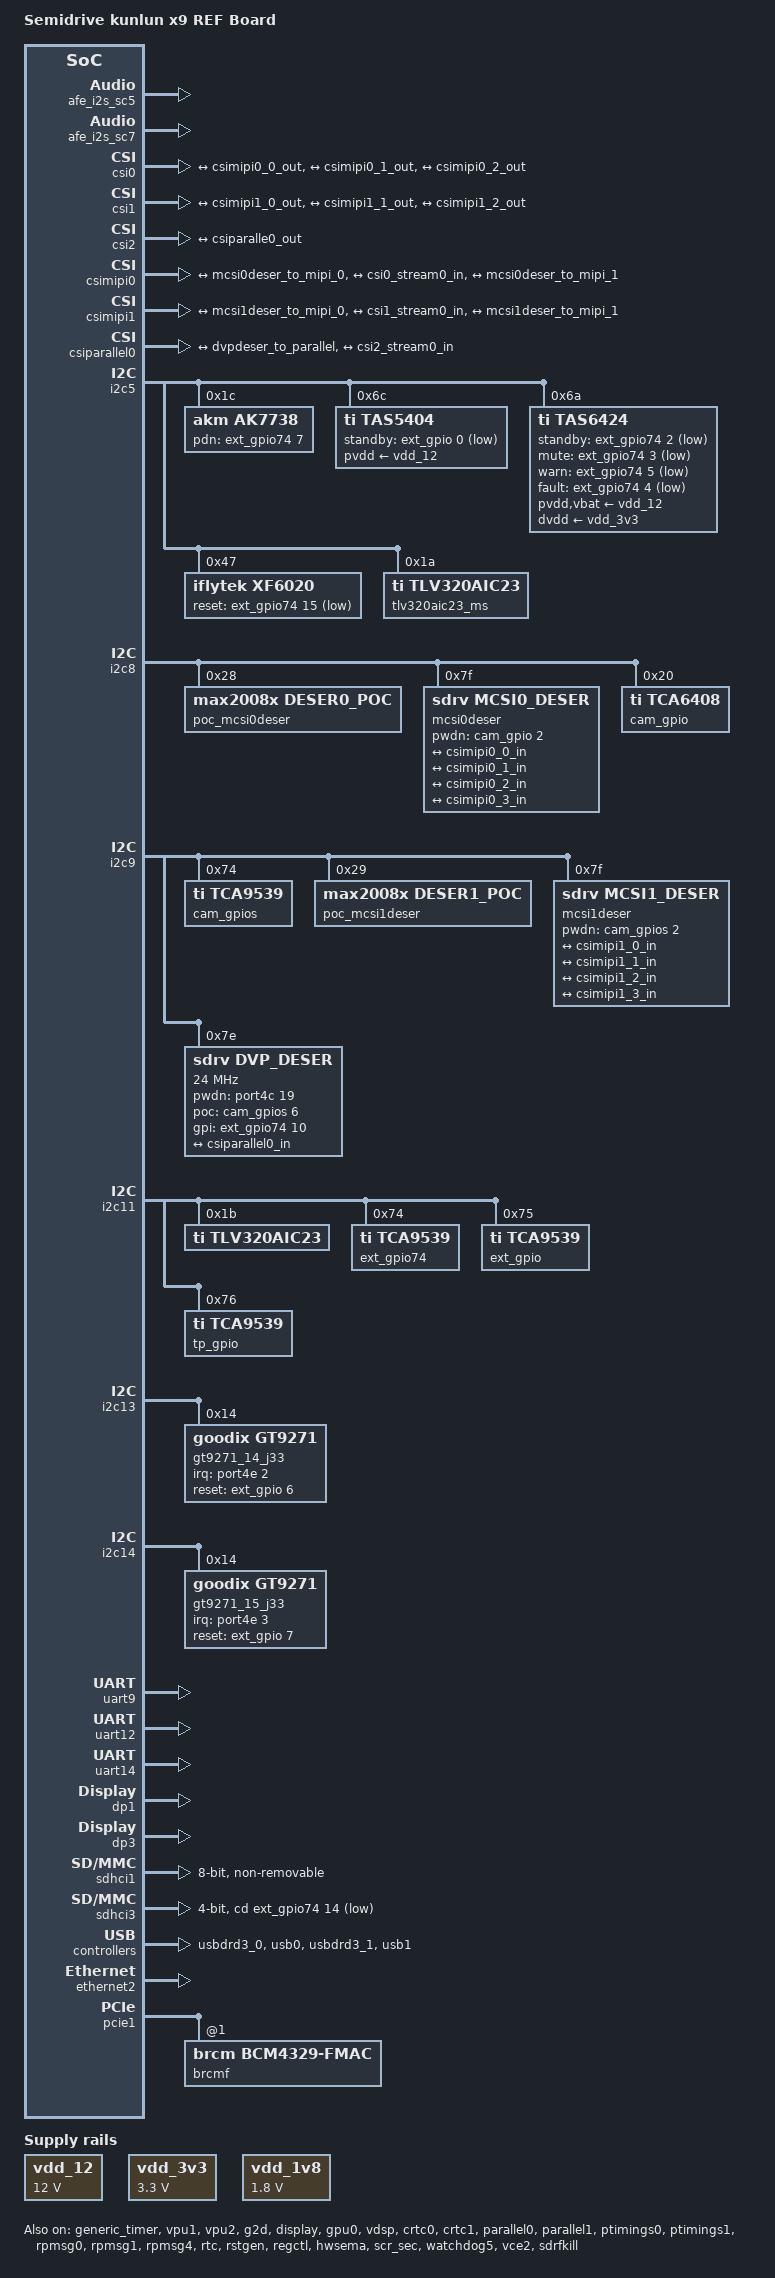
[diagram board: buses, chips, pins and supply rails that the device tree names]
/*
 * Semidrive kunlun platform DTS file
 *
 * Copyright (C) 2019, Semidrive  Communications Inc.
 *
 * This file is licensed under a dual GPLv2 or X11 license.
 */

/dts-v1/;

#include "../x9_high-plus_ecockpit.dtsi"
#include "../x9_high-plus_ref_ivi-clk-ctrl.dtsi"
#include "../lcd-timings.dtsi"
#include <dt-bindings/pinctrl/pins-sdx9.h>
#include <dt-bindings/memmap/x9_high-plus/projects/default/image_cfg.h>
#include <dt-bindings/memory/sdrv_ion.h>
#include <dt-bindings/rpmsg/sd,x9hp-ap1.h>

/ {
	model = "Semidrive kunlun x9 REF Board";

	compatible = "semidrive,kunlun";

	aliases {
		serial0 = &uart14;
		serial1 = &uart9;
		serial2 = &uart12;
		ethernet2 = &ethernet2;
	};

	memory@50000000 {
		device_type = "memory";
		reg = <HIGH32(AP1_KERNEL_MEMBASE-0x80000) LOW32(AP1_KERNEL_MEMBASE-0x80000) HIGH32(AP1_KERNEL_MEMSIZE) LOW32(AP1_KERNEL_MEMSIZE) \
		       HIGH32(AP1_2ND_MEMBASE) LOW32(AP1_2ND_MEMBASE) HIGH32(AP1_2ND_MEMSIZE - 0x1) LOW32(AP1_2ND_MEMSIZE) \
		       0x0 (VDSP_SHARE_MEMBASE+0x4000) 0x0 (VDSP_SHARE_MEMSIZE-0x4000)>;
	};

	reserved-memory {
		#address-cells = <2>;
		#size-cells = <2>;
		ranges;

		/* Default Common CMA Pool */
		/* QUIRK: Must be kept in the lower 4096 MiBs of DRAM banks for VE */
		linux,cma {
			compatible = "shared-dma-pool";
			reusable;
			size = <0x0 0x40000000>; /* 1G */
			/* 4GB maximum in case of 32-bit only capable devices */
			alloc-ranges = <0x0 0x0 0x0 0xb0000000>;
			linux,cma-default;
		};

		rproc_0_safety: rproc@0 {
			compatible = "shared-dma-pool";
			no-map;
			reg = <0x0 RPMSG0_MEM_POOL_BASE 0x0 RPMSG0_MEM_POOL_SIZE>;
		};

		rproc_1_secure: rproc@1 {
			compatible = "shared-dma-pool";
			no-map;
			reg = <0x0 RPMSG1_MEM_POOL_BASE 0x0 RPMSG1_MEM_POOL_SIZE>;
		};

		rproc_ap: rproc@4 {
			compatible = "shared-dma-pool";
			no-map;
			reg = <0x0 RPMSG3_MEM_POOL_BASE 0x0 RPMSG3_MEM_POOL_SIZE>;
		};

		xrp_reserved: xrp@0 {
			compatible = "shared-dma-pool";
			status = "okay";
			no-map;
			reg = <0x0 VDSP_SHARE_MEMBASE 0x0 0x4000>;
		};

		xrp_shared: xrp,shmem {
			reg = <0x0 (VDSP_SHARE_MEMBASE+0x4000) 0x0 (VDSP_SHARE_MEMSIZE-0x4000)>;
		};

	};

	chosen {
		bootargs = "root=/dev/ram0 rootfstype=ramfs highres=1  earlycon loglevel=4 console=ttyS0,115200n8 fbcon=map:1 androidboot.mode=normal androidboot.selinux=permissive androidboot.debuggable=0 androidboot.dm_verity=disable init=/init";
		stdout-path = "serial0";
		linux,initrd-start = <AP1_BOARD_RAMDISK_MEMBASE>;
		linux,initrd-end   = <AP1_BOARD_RAMDISK_MEMSIZE>;
	};

	vdd_12: fixed-vdd_12 {
		compatible = "regulator-fixed";
		regulator-name = "vdd_12v";
		regulator-min-microvolt = <12000000>;
		regulator-max-microvolt = <12000000>;
	};

	vdd_3v3: fixed-vdd_3v3 {
		compatible = "regulator-fixed";
		regulator-name = "vdd_3v3";
		regulator-min-microvolt = <3300000>;
		regulator-max-microvolt = <3300000>;
	};

	vdd_1v8: fixed-vdd_1v8 {
		compatible = "regulator-fixed";
		regulator-name = "vdd_1v8";
		regulator-min-microvolt = <1800000>;
		regulator-max-microvolt = <1800000>;
	};

	sound_ak7738: sound@ak7738 {
		compatible = "semidrive,x9-ref-ak7738","semidrive,x9-ref04-ak7738";
		semidrive,audio-codec = <&ak7738>;
		status = "okay";
	};

	sound_ak4556: sound@ak4556 {
		compatible = "semidrive,x9-ref-ak4556";
		status = "okay";
	};

	sound_tlv320aic23: sound@tlv320aic23 {
		compatible = "semidrive,x9-ref-tlv320aic23";
		semidrive,audio-codec = <&tlv320aic23>;
		status = "okay";
	};
};

&dmac4 {
	status = "okay";
};

&dmac5 {
	status = "okay";
};

&dmac6 {
	status = "okay";
};

&afe_i2s_sc2{
	dmas = <&dmac4 X9_DMA_SLV_ID_I2S_SC3_TX>, <&dmac4 X9_DMA_SLV_ID_I2S_SC3_RX>;
	dma-names = "tx", "rx";
	status = "disabled";
};

&afe_i2s_sc5{
	dmas = <&dmac4 X9_DMA_SLV_ID_I2S_SC6_TX>, <&dmac4 X9_DMA_SLV_ID_I2S_SC6_RX>;
	dma-names = "tx", "rx";
	status = "okay";
};

&afe_i2s_sc7{
	dmas = <&dmac4 X9_DMA_SLV_ID_I2S_SC8_TX>, <&dmac4 X9_DMA_SLV_ID_I2S_SC8_RX>;
	dma-names = "tx", "rx";
	status = "okay";
};

&csi0 {
	mbus-type = "mipi-csi2";
	pclk-sample = <1>;
	status = "okay";
	sync = <1>;

	ports {
		csi0_stream0: port@0 {
			csi0_stream0_in: endpoint@0 {
				remote-endpoint = <&csimipi0_0_out>;
			};
		};
		csi0_stream1: port@1 {
			csi0_stream1_in: endpoint@0 {
				remote-endpoint = <&csimipi0_1_out>;
			};
		};
		csi0_stream2: port@2 {
			csi0_stream2_in: endpoint@0 {
				remote-endpoint = <&csimipi0_2_out>;
			};
		};
		csi0_stream3: port@3 {
			csi0_stream3_in: endpoint@0 {
				remote-endpoint = <&csimipi0_3_out>;
			};
		};
	};
};
&csi1 {
	mbus-type = "mipi-csi2";
	pclk-sample = <1>;
	status = "okay";

	ports {
		csi1_stream0: port@0 {
			csi1_stream0_in: endpoint@0 {
				remote-endpoint = <&csimipi1_0_out>;
			};
		};
		csi1_stream1: port@1 {
			csi1_stream1_in: endpoint@0 {
				remote-endpoint = <&csimipi1_1_out>;
			};
		};
		csi1_stream2: port@2 {
			csi1_stream2_in: endpoint@0 {
				remote-endpoint = <&csimipi1_2_out>;
			};
		};
		csi1_stream3: port@3 {
			csi1_stream3_in: endpoint@0 {
				remote-endpoint = <&csimipi1_3_out>;
			};
		};
	};
};
&csi2 {
	mbus-type = "parallel";
	pclk-sample = <0>;
	status = "okay";

	ports {
		csi2_stream0: port@0 {
			csi2_stream0_in: endpoint@0 {
				remote-endpoint = <&csiparalle0_out>;
			};
		};

	};
};
&csimipi0 {
	status = "okay";
	lanerate = <72000000>;
	hsa = <10>;
	hbp = <20>;
	hsd = <0x60>;
	output-type = <0x1e>;
	sync = <1>;

	ports {
		#address-cells = <1>;
		#size-cells = <0>;

		port@0 {
			#address-cells = <1>;
			#size-cells = <0>;
			reg = <0>;
			csimipi0_0_in: endpoint@0 {
				remote-endpoint = <&mcsi0deser_to_mipi_0>;
				reg = <0>;
			};
			csimipi0_0_out: endpoint@1 {
				remote-endpoint = <&csi0_stream0_in>;
				reg = <0>;
			};
		};
		port@1 {
			#address-cells = <1>;
			#size-cells = <0>;
			reg = <1>;
			csimipi0_1_in: endpoint@0 {
				remote-endpoint = <&mcsi0deser_to_mipi_1>;
				reg = <1>;
			};
			csimipi0_1_out: endpoint@1 {
				remote-endpoint = <&csi0_stream1_in>;
				reg = <1>;
			};
		};
		port@2 {
			#address-cells = <1>;
			#size-cells = <0>;
			reg = <2>;
			csimipi0_2_in: endpoint@0 {
				remote-endpoint = <&mcsi0deser_to_mipi_2>;
				reg = <2>;
			};
			csimipi0_2_out: endpoint@1 {
				remote-endpoint = <&csi0_stream2_in>;
				reg = <2>;
			};
		};
		port@3 {
			#address-cells = <1>;
			#size-cells = <0>;
			reg = <3>;
			csimipi0_3_in: endpoint@0 {
				remote-endpoint = <&mcsi0deser_to_mipi_3>;
				reg = <3>;
			};
			csimipi0_3_out: endpoint@1 {
				remote-endpoint = <&csi0_stream3_in>;
				reg = <3>;
			};
		};
	};
};
&csimipi1 {
	status = "okay";
	lanerate = <72000000>;
	hsa = <10>;
	hbp = <20>;
	hsd = <0x60>;
	output-type = <0x1e>;

	ports {
		#address-cells = <1>;
		#size-cells = <0>;

		port@0 {
			#address-cells = <1>;
			#size-cells = <0>;
			reg = <0>;
			csimipi1_0_in: endpoint@0 {
				remote-endpoint = <&mcsi1deser_to_mipi_0>;
				reg = <0>;
			};
			csimipi1_0_out: endpoint@1 {
				remote-endpoint = <&csi1_stream0_in>;
				reg = <0>;
			};
		};
		port@1 {
			#address-cells = <1>;
			#size-cells = <0>;
			reg = <1>;
			csimipi1_1_in: endpoint@0 {
				remote-endpoint = <&mcsi1deser_to_mipi_1>;
				reg = <1>;
			};
			csimipi1_1_out: endpoint@1 {
				remote-endpoint = <&csi1_stream1_in>;
				reg = <1>;
			};
		};
		port@2 {
			#address-cells = <1>;
			#size-cells = <0>;
			reg = <2>;
			csimipi1_2_in: endpoint@0 {
				remote-endpoint = <&mcsi1deser_to_mipi_2>;
				reg = <2>;
			};
			csimipi1_2_out: endpoint@1 {
				remote-endpoint = <&csi1_stream2_in>;
				reg = <2>;
			};
		};
		port@3 {
			#address-cells = <1>;
			#size-cells = <0>;
			reg = <3>;
			csimipi1_3_in: endpoint@0 {
				remote-endpoint = <&mcsi1deser_to_mipi_3>;
				reg = <3>;
			};
			csimipi1_3_out: endpoint@1 {
				remote-endpoint = <&csi1_stream3_in>;
				reg = <3>;
			};
		};
	};
};
&csiparallel0 {
	status = "okay";
	#address-cells = <1>;
	#size-cells = <0>;

	port {
		#address-cells = <1>;
		#size-cells = <0>;
		reg = <0>;
		csiparallel0_in: endpoint@0 {
			remote-endpoint = <&dvpdeser_to_parallel>;
		};

		csiparallel0_out: endpoint@1 {
			remote-endpoint = <&csi2_stream0_in>;
		};
	};
};

&i2c5 {
        status = "okay";

		ak7738:codec@1c{
			compatible = "akm,ak7738";
			reg = <0x1c>;
			ak7738,pdn-gpio = <&ext_gpio74 7 0>; // If PDN GPIO pin is used
		};

 		tas5404:codec@6c {
			compatible = "ti,tas5404";
			reg = <0x6c>;
			#sound-dai-cells = <0>;
			pvdd-supply = <&vdd_12>;
			standby-gpios = <&ext_gpio 0 GPIO_ACTIVE_LOW>;
		};

		tas6424:codec@6a {
			compatible = "ti,tas6424";
			reg = <0x6a>;
			#sound-dai-cells = <0>;
			pvdd-supply = <&vdd_12>;
			vbat-supply = <&vdd_12>;
			dvdd-supply = <&vdd_3v3>;
			standby-gpios = <&ext_gpio74 2 GPIO_ACTIVE_LOW>;
			mute-gpios = <&ext_gpio74 3 GPIO_ACTIVE_LOW>;
			warn-gpios = <&ext_gpio74 5 GPIO_ACTIVE_LOW>;
			fault-gpios = <&ext_gpio74 4 GPIO_ACTIVE_LOW>;
		};

		xf6020:codec@47{
			compatible = "iflytek,xf6020";
			reg = <0x47>;
			reset-gpios = <&ext_gpio74 15 GPIO_ACTIVE_LOW>;
		};

		tlv320aic23_ms: codec@1a {
			compatible = "ti,tlv320aic23";
			reg = <0x1a>;
		};
};

&i2c6 {
        status = "disabled";
};

&i2c7 {
        status = "disabled";
};

&i2c8 {
	status = "okay";

	poc_mcsi0deser: poc@0x28 {
		compatible = "max2008x,deser0_poc";
		reg = <0x28>;
	};

	mcsi0deser:mcsi0deser@7F {
		compatible = "sdrv,mcsi0_deser";
		reg = <0x7F>;
		pwdn-gpios = <&cam_gpio 2 0>;
		sync = <1>;
		addr_20086 = /bits/ 16 <0x28>;
		addr_96705 = /bits/ 16 <0x40>;
		addr_0101 = /bits/ 16 <0x5d>;

		ports {
			port@0 {
				#address-cells = <1>;
				#size-cells = <0>;

				mcsi0deser_to_mipi_0: endpoint {
					remote-endpoint = <&csimipi0_0_in>;
				};
			};
			port@1 {
				#address-cells = <1>;
				#size-cells = <0>;

				mcsi0deser_to_mipi_1: endpoint {
					remote-endpoint = <&csimipi0_1_in>;
				};
			};
			port@2 {
				#address-cells = <1>;
				#size-cells = <0>;

				mcsi0deser_to_mipi_2: endpoint {
					remote-endpoint = <&csimipi0_2_in>;
				};
			};
			port@3 {
				#address-cells = <1>;
				#size-cells = <0>;

				mcsi0deser_to_mipi_3: endpoint {
					remote-endpoint = <&csimipi0_3_in>;
				};
			};
		};
	};

	cam_gpio: gpio@20 {
		compatible = "ti,tca6408";
		reg = <0x20>;
		#gpio-cells = <2>;
		gpio-controller;
	};
};

&i2c9 {
	status = "okay";

	cam_gpios: gpio@74 {
		compatible = "ti,tca9539";
		reg = <0x74>;
		#gpio-cells = <2>;
		gpio-controller;
	};

	poc_mcsi1deser: poc@0x29 {
		compatible = "max2008x,deser1_poc";
		reg = <0x29>;
	};

	mcsi1deser:mcsi1deser@7F {
		compatible = "sdrv,mcsi1_deser";
		reg = <0x7F>;
		pwdn-gpios = <&cam_gpios 2 0>;
		addr_20086 = /bits/ 16 <0x29>;
		addr_96705 = /bits/ 16 <0x40>;
		addr_0101 = /bits/ 16 <0x5d>;

		ports {
			port@0 {
				#address-cells = <1>;
				#size-cells = <0>;

				mcsi1deser_to_mipi_0: endpoint {
					remote-endpoint = <&csimipi1_0_in>;
				};
			};
			port@1 {
				#address-cells = <1>;
				#size-cells = <0>;

				mcsi1deser_to_mipi_1: endpoint {
					remote-endpoint = <&csimipi1_1_in>;
				};
			};
			port@2 {
				#address-cells = <1>;
				#size-cells = <0>;

				mcsi1deser_to_mipi_2: endpoint {
					remote-endpoint = <&csimipi1_2_in>;
				};
			};
			port@3 {
				#address-cells = <1>;
				#size-cells = <0>;

				mcsi1deser_to_mipi_3: endpoint {
					remote-endpoint = <&csimipi1_3_in>;
				};
			};
		};
	};

	dvp_deser:dvp_deser@7E {
		compatible = "sdrv,dvp_deser";
		clock-frequency = <24000000>;
		reg = <0x7E>;
		//powerdown-gpios = <&cam_gpios 11 0>;
		//gpi-gpios = <&cam_gpios 10 0>;
		pwdn-gpios = <&port4c 19 0>;
		poc-gpios = <&cam_gpios 6 0>;
		gpi-gpios = <&ext_gpio74 10 0>;
		port {
			#address-cells = <1>;
			#size-cells = <0>;

			dvpdeser_to_parallel: endpoint {
				remote-endpoint = <&csiparallel0_in>;
			};
		};
	};
};

&i2c10 {
        status = "disabled";
	gt9271_11_j35:gt9271_11_j35@5d {
		//pinctrl-names = "default";
		//pinctrl-0 = <&pinctrl_gpiotouch_mipi>;
		compatible = "goodix,gt9271";
		irq-gpios = <&port4e 17 0>;	/*io97*/
		reset-gpios = <&tp_gpio 2 0>;	/*index 2*/
		reg = <0x5d>;
	};
};

&i2c11 {
	status = "okay";

	tlv320aic23: codec@1b {
	compatible = "ti,tlv320aic23";
		reg = <0x1b>;
	};

	ext_gpio74: gpio@74 {
		compatible = "ti,tca9539";
		reg = <0x74>;
		#gpio-cells = <2>;
		gpio-controller;
	};
	ext_gpio: gpio@75 {
		compatible = "ti,tca9539";
		reg = <0x75>;
		#gpio-cells = <2>;
		gpio-controller;
	};
	tp_gpio: gpio@76 {
		compatible = "ti,tca9539";
		reg = <0x76>;
		#gpio-cells = <2>;
		gpio-controller;
	};
};

&i2c13 {
        status = "okay";

	gt9271_14_j33:gt9271_14_j33@14 {
                //pinctrl-names = "default";
                //pinctrl-0 = <&pinctrl_gpiotouch_lvds>;
                compatible = "goodix,gt9271";
		irq-gpios = <&port4e 2 0>;	/*io82*/
                reset-gpios = <&ext_gpio 6 0>;	/*index 6*/
                reg = <0x14>;
		dev_type = <0>;
        };

};

&i2c14 {
	status = "okay";

	gt9271_15_j33:gt9271_15_j33@14 {
		//pinctrl-names = "default";
		//pinctrl-0 = <&pinctrl_gpiotouch_lvds>;
		compatible = "goodix,gt9271";
		irq-gpios = <&port4e 3 0>;	/*io83*/
		reset-gpios = <&ext_gpio 7 0>;		/*index 7*/
		reg = <0x14>;
		dev_type = <1>;	/* 0: main device, 1: aux device */
	};
};

&i2c15 {
	status = "disabled";
	gt9271_16_j35:gt9271_16_j35@5d {
		//pinctrl-names = "default";
		//pinctrl-0 = <&pinctrl_gpiotouch_mipi>;
		compatible = "goodix,gt9271";
		irq-gpios = <&port4e 16 0>;	/*io96*/
		reset-gpios = <&tp_gpio 1 0>;	/*index 1*/
		reg = <0x5d>;
	};
};

&spi4 {
	status = "disabled";
};

&spi5 {
	status = "disabled";
};

&spi6 {
	status = "disabled";
};

&spi7 {
	status = "disabled";
};

&uart9 {
	status = "okay";
};

&uart12 {
	status = "okay";
};

&uart14 {
	dmas = <&dmac4 X9_DMA_SLV_ID_UART15_TX>, <&dmac4 X9_DMA_SLV_ID_UART15_RX>;
	dma-names = "tx", "rx";
	status = "okay";
};

&generic_timer {
	status = "okay";
};

&adc_ap {
	resolution_value = <0x03>; /*ADC_6_BITS_E0 = 0x00 , ADC_8_BITS_E1 = 0x01 , ADC_10_BITS_E2 = 0x02 , ADC_12_BITS_E3 = 0x03*/
	clksrc_sel = <0x00>; /*ADC_SRC_CLK_ALT_E0 = 0x00 , ADC_SRC_CLK_PCLK_E1 = 0x01 , ADC_SRC_CLK_EXT_E2 = 0x02*/
	clk_value = <24000000>;
	use-adc-fifo;
	vref-supply = <&vdd_1v8>;
	status = "disabled";
};

&vpu1 {
	resets = <&rstgen RSTGEN_MODULE_VPU1>;
	reset-names = "vpu-reset";
	status = "okay";
};

&vpu2 {
	resets = <&rstgen RSTGEN_MODULE_VPU2>;
	reset-names = "vpu-reset";
	status = "okay";
};

&g2d {
	status = "okay";
};

&display {
	sdriv,crtc = <&crtc0 &crtc1>;
	status = "okay";
};

&gpu0 {
	status = "okay";
};

&vdsp {
	reg = <0x0 VDSP_SHARE_MEMBASE 0x0 0x1000>, /* DSP command queue */
	      <0x0 (VDSP_SHARE_MEMBASE+0x4000) 0x0 (VDSP_SHARE_MEMSIZE-0x4000)>, /* DSP shared memory */
	      <0x0 0x34040000 0x0 0x1000>, /* vdsp mu base address, pass to vdsp, won't map */
	      <0x0 0x38316000 0x0 0x1000>, /* scr 0x458 */
	      <0x0 0x3839e000 0x0 0x1000>, /* scr 0x678 */
	      <0x0 0x38401000 0x0 0x2000>, /* rstgen core 0 */
	      <0x0 0x38466000 0x0 0x1000>; /* rstgen module 38 */
	firmware-name = "xtensa.elf";
	firmware-entry = <VDSP_MEMBASE>;
	/*data ram0, data ram1, system ram, shared ram*/
	ranges = <0x0 0x00a00000 0x0 0x00a00000 0x0 0x00020000
		  0x0 0x00a20000 0x0 0x00a20000 0x0 0x00020000
		  0x0 VDSP_MEMBASE 0x0 VDSP_MEMBASE 0x0 VDSP_MEMSIZE
		  0x0 LOW32(AP1_KERNEL_MEMBASE-0x80000) 0x0 LOW32(AP1_KERNEL_MEMBASE-0x80000) 0x0 LOW32(0x100000000-AP1_KERNEL_MEMBASE+0x80000)
		  0x0 VDSP_SHARE_MEMBASE 0x0 VDSP_SHARE_MEMBASE 0x0 VDSP_SHARE_MEMSIZE>;
	status = "okay";
};

&dp1 {
	status = "okay";
};
&dp3 {
	status = "okay";
};
&crtc0 {
	dpc-master = <&dp1>;
	status = "okay";
};

&crtc1 {
	dpc-master = <&dp3>;
	status = "okay";
};

&parallel0 {
	status = "okay";
};

&parallel1 {
	status = "okay";
};

&dtimings0 {
	native-mode = <&hd1280x800>;
};

&dtimings1 {
	native-mode = <&hd1280x800_1>;
};

&ptimings0 {
	status = "okay";
};

&ptimings1 {
	status = "okay";
};

&pinctrl {
	reg = <0x0 0x37000000 0x0 0x10000>;
	pinctrl-names = "default";

	sdx9-evk {
		pinctrl_mshc1: mshc1grp {
		kunlun,pins = <
			X9_PINCTRL_EMMC1_CLK__MSHC1_CLK_1 		X9_PINCTRL_OPEN_DRAIN_DISABLE
			X9_PINCTRL_EMMC1_CMD__MSHC1_CMD_1		X9_PINCTRL_OPEN_DRAIN_DISABLE
			X9_PINCTRL_EMMC1_DATA0__MSHC1_DATA_0_1	X9_PINCTRL_OPEN_DRAIN_DISABLE
			X9_PINCTRL_EMMC1_DATA1__MSHC1_DATA_1_1	X9_PINCTRL_OPEN_DRAIN_DISABLE
			X9_PINCTRL_EMMC1_DATA2__MSHC1_DATA_2_1	X9_PINCTRL_OPEN_DRAIN_DISABLE
			X9_PINCTRL_EMMC1_DATA3__MSHC1_DATA_3_1	X9_PINCTRL_OPEN_DRAIN_DISABLE
			X9_PINCTRL_EMMC1_DATA4__MSHC1_DATA_4_1	X9_PINCTRL_OPEN_DRAIN_DISABLE
			X9_PINCTRL_EMMC1_DATA5__MSHC1_DATA_5_1	X9_PINCTRL_OPEN_DRAIN_DISABLE
			X9_PINCTRL_EMMC1_DATA6__MSHC1_DATA_6_1	X9_PINCTRL_OPEN_DRAIN_DISABLE
			X9_PINCTRL_EMMC1_DATA7__MSHC1_DATA_7_1	X9_PINCTRL_OPEN_DRAIN_DISABLE
			X9_PINCTRL_EMMC1_STROBE__MSHC1_STB_1		X9_PINCTRL_OPEN_DRAIN_ENABLE
			X9_PINCTRL_EMMC1_RESET_N__MSHC1_RST_N_1	X9_PINCTRL_OPEN_DRAIN_DISABLE
			>;
		};

		pinctrl_gpiotouch_lvds: touchgrp_lvds {
                        kunlun,pins = <
			X9_PINCTRL_I2S_MC_SD4__GPIO_MUX2_IO80_1          0x00
			X9_PINCTRL_I2S_MC_SD5__GPIO_MUX2_IO81_1          0x00
                        X9_PINCTRL_I2S_MC_SD6__GPIO_MUX2_IO82_1          0x00
                        X9_PINCTRL_I2S_MC_SD7__GPIO_MUX2_IO83_1          0x00
                        >;
                };
		pinctrl_gpiotouch_mipi: touchgrp_mipi {
                        kunlun,pins = <
			X9_PINCTRL_EMMC2_CLK__GPIO_MUX2_IO96_1          0x00
			X9_PINCTRL_EMMC2_CMD__GPIO_MUX2_IO97_1          0x00
                        >;
                };
	};
};

&gpio4 {
	//pinctrl-names = "default";
	//pinctrl-0 = <&pinctrl_gpiotouch_lvds &pinctrl_gpiotouch_mipi>;
	status = "okay";
};

&sdhci1 {
	bus-width = <8>;
	non-removable;
	no-sdio;
	no-sd;
	card-is-emmc;
	disable-wp;
	cap-mmc-highspeed;
	keep-power-in-suspend;
	mmc-ddr-1_8v;
	mmc-hs200-1_8v;
	mmc-hs400-1_8v;
	mmc-hs400-enhanced-strobe;
	status = "okay";
};

&sdhci3 {
	#clock-cells = <1>;
	clocks = <&EMMC3>;
	clock-names = "core";
	max-frequency = <25000000>;
	cd-gpios = <&ext_gpio74 14 GPIO_ACTIVE_LOW>;
	bus-width = <4>;
	no-1-8-v;
	no-mmc;
	no-sdio;
	disable-wp;
	keep-power-in-suspend;
	status = "okay";
};

&mbox {
	status = "okay";
};

&vdsp_ipc {
	status = "okay";
};

&mbox_test {
	status = "okay";
};

&rpmsg0 {
	memory-region = <&rproc_0_safety>;
	reg = <0x0 RPMSG0_MEM_HEAD_BASE 0x0 RPMSG0_MEM_HEAD_SIZE>;
	status = "okay";
};

&rpmsg1 {
	memory-region = <&rproc_1_secure>;
	reg = <0x0 RPMSG1_MEM_HEAD_BASE 0x0 RPMSG1_MEM_HEAD_SIZE>;
	status = "okay";
};

&rpmsg4 {
	memory-region = <&rproc_ap>;
	reg = <0x0 RPMSG3_MEM_HEAD_BASE 0x0 RPMSG3_MEM_HEAD_SIZE>;
	status = "okay";
};

&ipcc0 {
	status = "okay";
};

&ipcc1 {
	status = "okay";
};

&ipcc4 {
	status = "okay";
};

&smmu {
	status = "disabled";
};

&rtc {
	status = "okay";
};

&usbdrd3_0 {
	status = "okay";
};

&usb0 {
	status = "okay";
};

&usbdrd3_1 {
	status = "okay";
};

&usb1 {
	status = "okay";
};

&ethernet2 {
	status = "okay";
};

&rstgen {
	reg = <0x0 0x38467000 0x0 0x1000>,	/* vpu1 */
		<0x0 0x38468000 0x0 0x1000>,	/* vpu2 */
		<0x0 0x38490000 0x0 0x1000>,	/* gpu1 core */
		<0x0 0x38491000 0x0 0x1000>,	/* gpu1 ss */
		<0x0 0x38461000 0x0 0x1000>,	/* GIC4 */
		<0x0 0x38455000 0x0 0x1000>,	/* cpu1 core0 warm */
		<0x0 0x38456000 0x0 0x1000>,	/* cpu1 core1 warm */
		<0x0 0x38457000 0x0 0x1000>,	/* cpu1 core2 warm */
		<0x0 0x38458000 0x0 0x1000>,	/* cpu1 core3 warm */
		<0x0 0x38459000 0x0 0x1000>,	/* cpu1 core4 warm */
		<0x0 0x3845a000 0x0 0x1000>,	/* cpu1 core5 warm */
		<0x0 0x3845b000 0x0 0x1000>,	/* cpu1 scu warm */
		<0x0 0x3846d000 0x0 0x1000>,	/* cpu1 ss */
		<0x0 0x38407000 0x0 0x2000>;	/* cpu1 all core */
	rstgen_resource = <
		RSTGEN_MODULE_VPU1
		RSTGEN_MODULE_VPU2
		RSTGEN_MODULE_GPU1_CORE
		RSTGEN_MODULE_GPU1_SS
		RSTGEN_MODULE_GIC4
		RSTGEN_MODULE_CPU1_CORE0_WARM
		RSTGEN_MODULE_CPU1_CORE1_WARM
		RSTGEN_MODULE_CPU1_CORE2_WARM
		RSTGEN_MODULE_CPU1_CORE3_WARM
		RSTGEN_MODULE_CPU1_CORE4_WARM
		RSTGEN_MODULE_CPU1_CORE5_WARM
		RSTGEN_MODULE_CPU1_SCU_WARM
		RSTGEN_MODULE_CPU1_SS
		RSTGEN_CORE_CPU1_ALL
		>;
	status = "okay";
};

&regctl {
	reg = <0x0 0x38415000 0x0 0x1000>,
		<0x0 0x38418000 0x0 0x1000>,
		<0x0 0x38419000 0x0 0x1000>,
		<0x0 0x3841a000 0x0 0x1000>;
	reg-names = "SDRV_REG_REMAP",
			"SDRV_REG_BOOTREASON",
			"SDRV_REG_HWID",
			"SDRV_REG_STATUS";
	status = "okay";
};

&ion {
	status = "disabled";
};

&hwsema {
        status = "okay";
};

&scr_sec {
        status = "okay";
};

&watchdog5 {
	wdt,auto-run = "false";
	status = "okay";
};

&pcie1 {
	status = "okay";
	brcmf: bcrmf@1 {
		reg = <1>;
		compatible = "brcm,bcm4329-fmac";
	};
};

&vce2 {
   /*
 	* op-mode options:
 	* bit 0: rng enable(1) or disable(0)
 	* bit 1: ce enable(1) or disable(0)
 	*/
 	op-mode = <3>;
	status = "okay";
};

&sdrfkill {
	bluetooth-en-gpio = <&tp_gpio 4 GPIO_ACTIVE_HIGH>;
	status = "okay";
};
